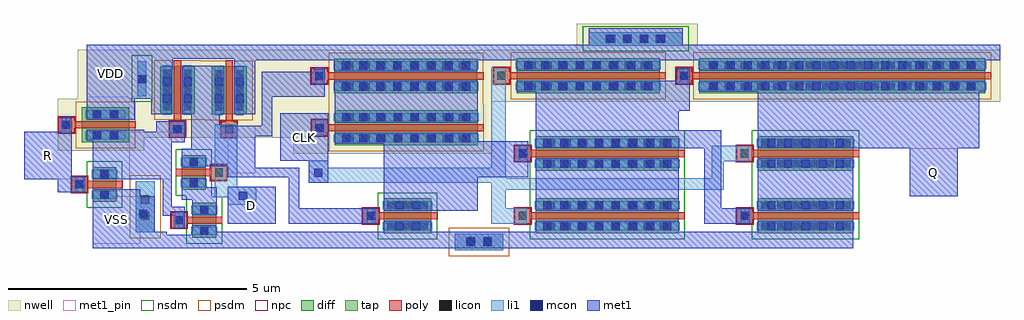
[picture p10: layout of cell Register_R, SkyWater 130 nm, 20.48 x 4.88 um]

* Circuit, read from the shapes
.subckt Register_R CLK D Q R VDD VSS
XM1 NAND2-1_1/In_2 R VSS VSS sky130_fd_pr__nfet_01v8 w=0.5 l=0.15
XM2 NAND2-1_1/Out D n1 VSS sky130_fd_pr__nfet_01v8 w=0.5 l=0.15
XM3 n1 NAND2-1_1/In_2 VSS VSS sky130_fd_pr__nfet_01v8 w=0.5 l=0.15
XM4 n2 NAND2-1_1/Out VSS VSS sky130_fd_pr__nfet_01v8 w=1 l=0.15
XM5 n3 CLK VSS VSS sky130_fd_pr__nfet_01v8 w=3 l=0.15
XM6 n4 n2 n3 VSS sky130_fd_pr__nfet_01v8 w=3 l=0.15
XM7 n5 n4 VSS VSS sky130_fd_pr__nfet_01v8 w=2 l=0.15
XM8 Q CLK n5 VSS sky130_fd_pr__nfet_01v8 w=2 l=0.15
XM9 VDD R NAND2-1_1/In_2 VDD sky130_fd_pr__pfet_01v8 w=1 l=0.15
XM10 NAND2-1_1/Out NAND2-1_1/In_2 VDD VDD sky130_fd_pr__pfet_01v8 w=1 l=0.15
XM11 VDD D NAND2-1_1/Out VDD sky130_fd_pr__pfet_01v8 w=1 l=0.15
XM12 VDD NAND2-1_1/Out n6 VDD sky130_fd_pr__pfet_01v8 w=3 l=0.15
XM13 n6 CLK n2 VDD sky130_fd_pr__pfet_01v8 w=3 l=0.15
XM14 VDD CLK n4 VDD sky130_fd_pr__pfet_01v8 w=3 l=0.15
XM15 VDD n4 Q VDD sky130_fd_pr__pfet_01v8 w=6 l=0.15
.ends

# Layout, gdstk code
from math import pi, radians
import gdstk
lib = gdstk.Library(unit=1e-6, precision=1e-09)
def R(c, l, rs):  # rectangles x0, y0, x1, y1
    for r in rs: c.add(gdstk.rectangle(r[:2], r[2:], *l))
def A(c, l, x, y, w, h, nx, ny, dx, dy):  # array of equal rectangles
    R(c, l, [(x+i*dx, y+j*dy, x+i*dx+w, y+j*dy+h) for i in range(nx) for j in range(ny)])
nwell = (64, 20)
diff = (65, 20)
tap = (65, 44)
poly = (66, 20)
licon = (66, 44)
li1 = (67, 20)
mcon = (67, 44)
met1_pin = (68, 16)
met1 = (68, 20)
nsdm = (93, 44)
psdm = (94, 20)
npc = (95, 20)

sky130_fd_pr__pfet_01v8_ = lib.new_cell('sky130_fd_pr__pfet_01v8_5475HN')
R(sky130_fd_pr__pfet_01v8_, nwell, [(-0.545,-1.99,0.545,1.82)])
R(sky130_fd_pr__pfet_01v8_, diff, [(-0.365,-1.68,0.365,1.32)])
R(sky130_fd_pr__pfet_01v8_, poly, [(-0.075,-1.81,0.075,1.475), (-0.165,1.475,0.165,1.805)])
A(sky130_fd_pr__pfet_01v8_, licon, -0.305, -1.455, 0.17, 0.17, 1, 8, 0, 0.34)
A(sky130_fd_pr__pfet_01v8_, licon, 0.135, -1.455, 0.17, 0.17, 1, 8, 0, 0.34)
R(sky130_fd_pr__pfet_01v8_, licon, [(-0.085,1.555,0.085,1.725)])
R(sky130_fd_pr__pfet_01v8_, li1, [(-0.305,-1.7,-0.135,1.34), (0.135,-1.7,0.305,1.34), (-0.165,1.555,0.165,1.725)])
A(sky130_fd_pr__pfet_01v8_, mcon, -0.305, -1.525, 0.17, 0.17, 1, 8, 0, 0.36)
A(sky130_fd_pr__pfet_01v8_, mcon, 0.135, -1.525, 0.17, 0.17, 1, 8, 0, 0.36)
R(sky130_fd_pr__pfet_01v8_, mcon, [(-0.085,1.555,0.085,1.725)])
R(sky130_fd_pr__pfet_01v8_, met1, [(-0.335,-1.68,-0.105,1.32), (0.105,-1.68,0.335,1.32), (-0.145,1.525,0.145,1.755)])
R(sky130_fd_pr__pfet_01v8_, psdm, [(-0.49,-1.805,0.49,1.445)])
R(sky130_fd_pr__pfet_01v8_, npc, [(-0.185,1.455,0.185,1.825)])

c_sky130_fd_pr__pfet_01v8_ = lib.new_cell('sky130_fd_pr__pfet_01v8_CWU6PJ')
R(c_sky130_fd_pr__pfet_01v8_, nwell, [(-0.545,-0.99,0.545,0.82)])
R(c_sky130_fd_pr__pfet_01v8_, diff, [(-0.365,-0.68,0.365,0.32)])
R(c_sky130_fd_pr__pfet_01v8_, poly, [(-0.075,-0.81,0.075,0.475), (-0.165,0.475,0.165,0.805)])
A(c_sky130_fd_pr__pfet_01v8_, licon, -0.305, -0.605, 0.17, 0.17, 1, 3, 0, 0.34)
A(c_sky130_fd_pr__pfet_01v8_, licon, 0.135, -0.605, 0.17, 0.17, 1, 3, 0, 0.34)
R(c_sky130_fd_pr__pfet_01v8_, licon, [(-0.085,0.555,0.085,0.725)])
R(c_sky130_fd_pr__pfet_01v8_, li1, [(-0.305,-0.7,-0.135,0.34), (0.135,-0.7,0.305,0.34), (-0.165,0.555,0.165,0.725)])
R(c_sky130_fd_pr__pfet_01v8_, mcon, [(-0.305,-0.445,-0.135,-0.275), (0.135,-0.445,0.305,-0.275), (-0.305,-0.085,-0.135,0.085), (0.135,-0.085,0.305,0.085), (-0.085,0.555,0.085,0.725)])
R(c_sky130_fd_pr__pfet_01v8_, met1, [(-0.335,-0.68,-0.105,0.32), (0.105,-0.68,0.335,0.32), (-0.145,0.525,0.145,0.755)])
R(c_sky130_fd_pr__pfet_01v8_, psdm, [(-0.49,-0.805,0.49,0.445)])
R(c_sky130_fd_pr__pfet_01v8_, npc, [(-0.185,0.455,0.185,0.825)])

sky130_fd_pr__nfet_01v8_ = lib.new_cell('sky130_fd_pr__nfet_01v8_8DMXDH')
R(sky130_fd_pr__nfet_01v8_, diff, [(-0.365,-0.405,0.365,0.095)])
R(sky130_fd_pr__nfet_01v8_, poly, [(-0.075,-0.535,0.075,0.205), (-0.165,0.205,0.165,0.535)])
R(sky130_fd_pr__nfet_01v8_, licon, [(-0.305,-0.24,-0.135,-0.07), (0.135,-0.24,0.305,-0.07), (-0.085,0.285,0.085,0.455)])
R(sky130_fd_pr__nfet_01v8_, li1, [(-0.305,-0.425,-0.135,0.115), (0.135,-0.425,0.305,0.115), (-0.165,0.285,0.165,0.455)])
R(sky130_fd_pr__nfet_01v8_, mcon, [(-0.305,-0.24,-0.135,-0.07), (0.135,-0.24,0.305,-0.07), (-0.085,0.285,0.085,0.455)])
R(sky130_fd_pr__nfet_01v8_, met1, [(-0.335,-0.405,-0.105,0.095), (0.105,-0.405,0.335,0.095), (-0.145,0.255,0.145,0.485)])
R(sky130_fd_pr__nfet_01v8_, nsdm, [(-0.49,-0.53,0.49,0.22)])
R(sky130_fd_pr__nfet_01v8_, npc, [(-0.185,0.185,0.185,0.555)])

c_sky130_fd_pr__pfet_01v8__ = lib.new_cell('sky130_fd_pr__pfet_01v8_AMN6CD')
R(c_sky130_fd_pr__pfet_01v8__, nwell, [(-0.545,-0.99,0.545,0.82)])
R(c_sky130_fd_pr__pfet_01v8__, diff, [(-0.365,-0.68,0.365,0.32)])
R(c_sky130_fd_pr__pfet_01v8__, poly, [(-0.075,-0.81,0.075,0.475), (-0.165,0.475,0.165,0.805)])
A(c_sky130_fd_pr__pfet_01v8__, licon, -0.305, -0.605, 0.17, 0.17, 1, 3, 0, 0.34)
A(c_sky130_fd_pr__pfet_01v8__, licon, 0.135, -0.605, 0.17, 0.17, 1, 3, 0, 0.34)
R(c_sky130_fd_pr__pfet_01v8__, licon, [(-0.085,0.555,0.085,0.725)])
R(c_sky130_fd_pr__pfet_01v8__, li1, [(-0.305,-0.7,-0.135,0.34), (0.135,-0.7,0.305,0.34), (-0.165,0.555,0.165,0.725)])
R(c_sky130_fd_pr__pfet_01v8__, mcon, [(-0.305,-0.445,-0.135,-0.275), (0.135,-0.445,0.305,-0.275), (-0.305,-0.085,-0.135,0.085), (0.135,-0.085,0.305,0.085)])
R(c_sky130_fd_pr__pfet_01v8__, met1, [(-0.335,-0.68,-0.105,0.32), (0.105,-0.68,0.335,0.32)])
R(c_sky130_fd_pr__pfet_01v8__, psdm, [(-0.49,-0.805,0.49,0.445)])
R(c_sky130_fd_pr__pfet_01v8__, npc, [(-0.185,0.455,0.185,0.825)])

c_sky130_fd_pr__nfet_01v8_ = lib.new_cell('sky130_fd_pr__nfet_01v8_CQHVT8')
R(c_sky130_fd_pr__nfet_01v8_, diff, [(-0.365,-0.405,0.365,0.095)])
R(c_sky130_fd_pr__nfet_01v8_, poly, [(-0.075,-0.535,0.075,0.205), (-0.165,0.205,0.165,0.535)])
R(c_sky130_fd_pr__nfet_01v8_, licon, [(-0.305,-0.24,-0.135,-0.07), (0.135,-0.24,0.305,-0.07), (-0.085,0.285,0.085,0.455)])
R(c_sky130_fd_pr__nfet_01v8_, li1, [(-0.305,-0.425,-0.135,0.115), (0.135,-0.425,0.305,0.115), (-0.165,0.285,0.165,0.455)])
R(c_sky130_fd_pr__nfet_01v8_, mcon, [(-0.305,-0.24,-0.135,-0.07), (0.135,-0.24,0.305,-0.07)])
R(c_sky130_fd_pr__nfet_01v8_, met1, [(-0.335,-0.405,-0.105,0.095), (0.105,-0.405,0.335,0.095)])
R(c_sky130_fd_pr__nfet_01v8_, nsdm, [(-0.49,-0.53,0.49,0.22)])
R(c_sky130_fd_pr__nfet_01v8_, npc, [(-0.185,0.185,0.185,0.555)])

nand2_1 = lib.new_cell('NAND2-1')
R(nand2_1, nwell, [(2.07,-2.56,2.45,-1.93), (2.96,-2.28,3.52,-1.01), (1.7,-1.93,2.45,-1.04), (1.7,-1.04,2.5,-0.76), (1.7,-0.76,4.34,-0.75)])
R(nand2_1, tap, [(1.83,-4.55,2.23,-3.48), (1.88,-1.69,2.06,-0.96)])
R(nand2_1, licon, [(1.945,-4.285,2.115,-4.115), (1.945,-3.945,2.115,-3.775), (1.885,-1.42,2.055,-1.25)])
R(nand2_1, li1, [(1.83,-4.55,2.23,-3.48), (3.77,-3.97,4.34,-3.93), (3.77,-3.93,4.36,-3.81), (3.49,-3.81,4.36,-3.62), (3.49,-3.62,4.34,-3.59), (3.49,-3.59,3.96,-2.28), (1.88,-1.69,2.06,-0.96)])
R(nand2_1, mcon, [(1.91,-4.245,2.08,-4.075), (4,-3.865,4.17,-3.695), (1.885,-1.42,2.055,-1.25)])
R(nand2_1, met1_pin, [(1.7,-4.79,1.83,-3.79), (4.08,-4.14,4.21,-4.01), (1.7,-3.44,2.59,-2.44), (3.77,-3.31,4.34,-2.31), (1.7,-1.75,1.88,-0.75)])
R(nand2_1, met1, [(1.7,-4.79,3.52,-4.6), (1.7,-4.6,2.23,-3.79), (2.63,-4.46,2.86,-4.2), (3.77,-4.22,4.34,-3.93), (2.4,-4.2,2.86,-4.01), (3.02,-4.19,3.53,-3.87), (2.4,-4.01,2.59,-3.44), (3.77,-3.93,4.36,-3.62), (2.8,-3.87,3.53,-3.6), (3.77,-3.62,4.34,-3.59), (2.8,-3.6,3.3,-3.4), (1.7,-3.44,2.59,-2.66), (3.77,-3.31,4.34,-3.16), (2.8,-3.16,4.34,-2.8), (3,-2.8,4.34,-2.31), (1.7,-2.66,2.86,-2.44), (2.26,-2.44,2.86,-2.22), (3,-2.31,3.6,-2.07), (2.16,-2.07,2.6,-1.75), (2.81,-2.07,3.69,-1.05), (3.9,-2.07,4.34,-0.91), (1.7,-1.75,2.6,-1.14), (1.7,-1.14,2.61,-0.91), (1.7,-0.91,4.34,-0.72)])
R(nand2_1, nsdm, [(2.895,-3.805,3.425,-3.785), (1.755,-1.815,2.185,-0.835)])
R(nand2_1, psdm, [(1.705,-4.675,2.355,-3.355), (3.2,-2.19,3.305,-0.945)])
nand2_1.add(gdstk.Reference(c_sky130_fd_pr__pfet_01v8_, (2.71,-1.745), rotation=pi))
nand2_1.add(gdstk.Reference(sky130_fd_pr__nfet_01v8_, (3.115,-4.295), rotation=pi/2))
nand2_1.add(gdstk.Reference(c_sky130_fd_pr__pfet_01v8__, (3.795,-1.75), rotation=pi))
nand2_1.add(gdstk.Reference(c_sky130_fd_pr__nfet_01v8_, (3.205,-3.295), rotation=3*pi/2))
nand2_1.add(gdstk.Label('VDD', (1.79,-1.25), layer=68, texttype=5))
nand2_1.add(gdstk.Label('In_1', (4.145,-4.075), layer=68, texttype=5))
nand2_1.add(gdstk.Label('Out', (4.055,-2.81), layer=68, texttype=5))
nand2_1.add(gdstk.Label('In_2', (2.145,-2.94), layer=68, texttype=5))
nand2_1.add(gdstk.Label('VSS', (1.765,-4.29), layer=68, texttype=5))

c_sky130_fd_pr__pfet_01v8___ = lib.new_cell('sky130_fd_pr__pfet_01v8_F97YLM')
R(c_sky130_fd_pr__pfet_01v8___, nwell, [(-0.545,-0.99,0.545,0.82)])
R(c_sky130_fd_pr__pfet_01v8___, diff, [(-0.365,-0.68,0.365,0.32)])
R(c_sky130_fd_pr__pfet_01v8___, poly, [(-0.075,-0.81,0.075,0.475), (-0.165,0.475,0.165,0.805)])
R(c_sky130_fd_pr__pfet_01v8___, licon, [(-0.305,-0.435,-0.135,-0.265), (0.135,-0.435,0.305,-0.265), (-0.305,-0.095,-0.135,0.075), (0.135,-0.095,0.305,0.075), (-0.085,0.555,0.085,0.725)])
R(c_sky130_fd_pr__pfet_01v8___, li1, [(-0.305,-0.59,-0.135,0.23), (0.135,-0.59,0.305,0.23), (-0.165,0.555,0.165,0.725)])
R(c_sky130_fd_pr__pfet_01v8___, mcon, [(-0.305,-0.445,-0.135,-0.275), (0.135,-0.445,0.305,-0.275), (-0.305,-0.085,-0.135,0.085), (0.135,-0.085,0.305,0.085), (-0.085,0.555,0.085,0.725)])
R(c_sky130_fd_pr__pfet_01v8___, met1, [(-0.335,-0.57,-0.105,0.21), (0.105,-0.57,0.335,0.21), (-0.145,0.525,0.145,0.755)])
R(c_sky130_fd_pr__pfet_01v8___, psdm, [(-0.49,-0.805,0.49,0.445)])
R(c_sky130_fd_pr__pfet_01v8___, npc, [(-0.185,0.455,0.185,0.825)])

inv2_1 = lib.new_cell('Inv2-1')
R(inv2_1, met1_pin, [(2.73,-3.84,3.04,-2.84)])
R(inv2_1, met1, [(1.96,-4.31,2.96,-4.05), (1.23,-4.11,1.8,-3.78), (1.96,-3.84,3.04,-2.95), (1.23,-3.78,1.52,-2.84), (2.06,-2.95,3.04,-2.8), (1.84,-2.59,2.84,-2.15)])
inv2_1.add(gdstk.Reference(c_sky130_fd_pr__pfet_01v8___, (2.05,-2.695), rotation=pi/2))
inv2_1.add(gdstk.Reference(sky130_fd_pr__nfet_01v8_, (2.055,-3.945), rotation=pi/2))
inv2_1.add(gdstk.Label('Out', (2.885,-3.34), layer=68, texttype=5))

c_sky130_fd_pr__nfet_01v8__ = lib.new_cell('sky130_fd_pr__nfet_01v8_5R7S7E')
R(c_sky130_fd_pr__nfet_01v8__, diff, [(-0.365,-1.655,0.365,1.345)])
R(c_sky130_fd_pr__nfet_01v8__, poly, [(-0.075,-1.785,0.075,1.455), (-0.165,1.455,0.165,1.785)])
A(c_sky130_fd_pr__nfet_01v8__, licon, -0.305, -1.43, 0.17, 0.17, 1, 8, 0, 0.34)
A(c_sky130_fd_pr__nfet_01v8__, licon, 0.135, -1.43, 0.17, 0.17, 1, 8, 0, 0.34)
R(c_sky130_fd_pr__nfet_01v8__, licon, [(-0.085,1.535,0.085,1.705)])
R(c_sky130_fd_pr__nfet_01v8__, li1, [(-0.305,-1.675,-0.135,1.365), (0.135,-1.675,0.305,1.365), (-0.165,1.535,0.165,1.705)])
A(c_sky130_fd_pr__nfet_01v8__, mcon, -0.305, -1.5, 0.17, 0.17, 1, 8, 0, 0.36)
A(c_sky130_fd_pr__nfet_01v8__, mcon, 0.135, -1.5, 0.17, 0.17, 1, 8, 0, 0.36)
R(c_sky130_fd_pr__nfet_01v8__, met1, [(-0.335,-1.655,-0.105,1.345), (0.105,-1.655,0.335,1.345)])
R(c_sky130_fd_pr__nfet_01v8__, nsdm, [(-0.49,-1.78,0.49,1.47)])
R(c_sky130_fd_pr__nfet_01v8__, npc, [(-0.185,1.435,0.185,1.805)])

c_sky130_fd_pr__nfet_01v8___ = lib.new_cell('sky130_fd_pr__nfet_01v8_NTFR9R')
R(c_sky130_fd_pr__nfet_01v8___, diff, [(-0.365,-0.655,0.365,0.345)])
R(c_sky130_fd_pr__nfet_01v8___, poly, [(-0.075,-0.785,0.075,0.455), (-0.165,0.455,0.165,0.785)])
A(c_sky130_fd_pr__nfet_01v8___, licon, -0.305, -0.58, 0.17, 0.17, 1, 3, 0, 0.34)
A(c_sky130_fd_pr__nfet_01v8___, licon, 0.135, -0.58, 0.17, 0.17, 1, 3, 0, 0.34)
R(c_sky130_fd_pr__nfet_01v8___, licon, [(-0.085,0.535,0.085,0.705)])
R(c_sky130_fd_pr__nfet_01v8___, li1, [(-0.305,-0.675,-0.135,0.365), (0.135,-0.675,0.305,0.365), (-0.165,0.535,0.165,0.705)])
R(c_sky130_fd_pr__nfet_01v8___, mcon, [(-0.305,-0.42,-0.135,-0.25), (0.135,-0.42,0.305,-0.25), (-0.305,-0.06,-0.135,0.11), (0.135,-0.06,0.305,0.11), (-0.085,0.535,0.085,0.705)])
R(c_sky130_fd_pr__nfet_01v8___, met1, [(-0.335,-0.655,-0.105,0.345), (0.105,-0.655,0.335,0.345), (-0.145,0.505,0.145,0.735)])
R(c_sky130_fd_pr__nfet_01v8___, nsdm, [(-0.49,-0.78,0.49,0.47)])
R(c_sky130_fd_pr__nfet_01v8___, npc, [(-0.185,0.435,0.185,0.805)])

c_sky130_fd_pr__pfet_01v8____ = lib.new_cell('sky130_fd_pr__pfet_01v8_YRA8CD')
R(c_sky130_fd_pr__pfet_01v8____, nwell, [(-0.545,-1.99,0.545,1.82)])
R(c_sky130_fd_pr__pfet_01v8____, diff, [(-0.365,-1.68,0.365,1.32)])
R(c_sky130_fd_pr__pfet_01v8____, poly, [(-0.075,-1.81,0.075,1.475), (-0.165,1.475,0.165,1.805)])
A(c_sky130_fd_pr__pfet_01v8____, licon, -0.305, -1.455, 0.17, 0.17, 1, 8, 0, 0.34)
A(c_sky130_fd_pr__pfet_01v8____, licon, 0.135, -1.455, 0.17, 0.17, 1, 8, 0, 0.34)
R(c_sky130_fd_pr__pfet_01v8____, licon, [(-0.085,1.555,0.085,1.725)])
R(c_sky130_fd_pr__pfet_01v8____, li1, [(-0.305,-1.7,-0.135,1.34), (0.135,-1.7,0.305,1.34), (-0.165,1.555,0.165,1.725)])
A(c_sky130_fd_pr__pfet_01v8____, mcon, -0.305, -1.525, 0.17, 0.17, 1, 8, 0, 0.36)
A(c_sky130_fd_pr__pfet_01v8____, mcon, 0.135, -1.525, 0.17, 0.17, 1, 8, 0, 0.36)
R(c_sky130_fd_pr__pfet_01v8____, met1, [(-0.335,-1.68,-0.105,1.32), (0.105,-1.68,0.335,1.32)])
R(c_sky130_fd_pr__pfet_01v8____, psdm, [(-0.49,-1.805,0.49,1.445)])
R(c_sky130_fd_pr__pfet_01v8____, npc, [(-0.185,1.455,0.185,1.825)])

c_sky130_fd_pr__nfet_01v8____ = lib.new_cell('sky130_fd_pr__nfet_01v8_KNTFKG')
R(c_sky130_fd_pr__nfet_01v8____, diff, [(-0.365,-1.655,0.365,1.345)])
R(c_sky130_fd_pr__nfet_01v8____, poly, [(-0.075,-1.785,0.075,1.455), (-0.165,1.455,0.165,1.785)])
A(c_sky130_fd_pr__nfet_01v8____, licon, -0.305, -1.43, 0.17, 0.17, 1, 8, 0, 0.34)
A(c_sky130_fd_pr__nfet_01v8____, licon, 0.135, -1.43, 0.17, 0.17, 1, 8, 0, 0.34)
R(c_sky130_fd_pr__nfet_01v8____, licon, [(-0.085,1.535,0.085,1.705)])
R(c_sky130_fd_pr__nfet_01v8____, li1, [(-0.305,-1.675,-0.135,1.365), (0.135,-1.675,0.305,1.365), (-0.165,1.535,0.165,1.705)])
A(c_sky130_fd_pr__nfet_01v8____, mcon, -0.305, -1.5, 0.17, 0.17, 1, 8, 0, 0.36)
A(c_sky130_fd_pr__nfet_01v8____, mcon, 0.135, -1.5, 0.17, 0.17, 1, 8, 0, 0.36)
R(c_sky130_fd_pr__nfet_01v8____, mcon, [(-0.085,1.535,0.085,1.705)])
R(c_sky130_fd_pr__nfet_01v8____, met1, [(-0.335,-1.655,-0.105,1.345), (0.105,-1.655,0.335,1.345), (-0.145,1.505,0.145,1.735)])
R(c_sky130_fd_pr__nfet_01v8____, nsdm, [(-0.49,-1.78,0.49,1.47)])
R(c_sky130_fd_pr__nfet_01v8____, npc, [(-0.185,1.435,0.185,1.805)])

c_sky130_fd_pr__nfet_01v8_____ = lib.new_cell('sky130_fd_pr__nfet_01v8_28RQMS')
R(c_sky130_fd_pr__nfet_01v8_____, diff, [(-0.365,-1.155,0.365,0.845)])
R(c_sky130_fd_pr__nfet_01v8_____, poly, [(-0.075,-1.285,0.075,0.955), (-0.165,0.955,0.165,1.285)])
A(c_sky130_fd_pr__nfet_01v8_____, licon, -0.305, -1.09, 0.17, 0.17, 1, 6, 0, 0.34)
A(c_sky130_fd_pr__nfet_01v8_____, licon, 0.135, -1.09, 0.17, 0.17, 1, 6, 0, 0.34)
R(c_sky130_fd_pr__nfet_01v8_____, licon, [(-0.085,1.035,0.085,1.205)])
R(c_sky130_fd_pr__nfet_01v8_____, li1, [(-0.305,-1.175,-0.135,0.865), (0.135,-1.175,0.305,0.865), (-0.165,1.035,0.165,1.205)])
A(c_sky130_fd_pr__nfet_01v8_____, mcon, -0.305, -0.96, 0.17, 0.17, 1, 5, 0, 0.36)
A(c_sky130_fd_pr__nfet_01v8_____, mcon, 0.135, -0.96, 0.17, 0.17, 1, 5, 0, 0.36)
R(c_sky130_fd_pr__nfet_01v8_____, mcon, [(-0.085,1.035,0.085,1.205)])
R(c_sky130_fd_pr__nfet_01v8_____, met1, [(-0.335,-1.155,-0.105,0.845), (0.105,-1.155,0.335,0.845), (-0.145,1.005,0.145,1.235)])
R(c_sky130_fd_pr__nfet_01v8_____, nsdm, [(-0.49,-1.28,0.49,0.97)])
R(c_sky130_fd_pr__nfet_01v8_____, npc, [(-0.185,0.935,0.185,1.305)])

c_sky130_fd_pr__pfet_01v8_____ = lib.new_cell('sky130_fd_pr__pfet_01v8_C6DMSJ')
R(c_sky130_fd_pr__pfet_01v8_____, nwell, [(-0.545,-3.49,0.545,3.32)])
R(c_sky130_fd_pr__pfet_01v8_____, diff, [(-0.365,-3.18,0.365,2.82)])
R(c_sky130_fd_pr__pfet_01v8_____, poly, [(-0.075,-3.31,0.075,2.975), (-0.165,2.975,0.165,3.305)])
A(c_sky130_fd_pr__pfet_01v8_____, licon, -0.305, -2.985, 0.17, 0.17, 1, 17, 0, 0.34)
A(c_sky130_fd_pr__pfet_01v8_____, licon, 0.135, -2.985, 0.17, 0.17, 1, 17, 0, 0.34)
R(c_sky130_fd_pr__pfet_01v8_____, licon, [(-0.085,3.055,0.085,3.225)])
R(c_sky130_fd_pr__pfet_01v8_____, li1, [(-0.305,-3.2,-0.135,2.84), (0.135,-3.2,0.305,2.84), (-0.165,3.055,0.165,3.225)])
A(c_sky130_fd_pr__pfet_01v8_____, mcon, -0.305, -2.965, 0.17, 0.17, 1, 16, 0, 0.36)
A(c_sky130_fd_pr__pfet_01v8_____, mcon, 0.135, -2.965, 0.17, 0.17, 1, 16, 0, 0.36)
R(c_sky130_fd_pr__pfet_01v8_____, mcon, [(-0.085,3.055,0.085,3.225)])
R(c_sky130_fd_pr__pfet_01v8_____, met1, [(-0.335,-3.18,-0.105,2.82), (0.105,-3.18,0.335,2.82), (-0.145,3.025,0.145,3.255)])
R(c_sky130_fd_pr__pfet_01v8_____, psdm, [(-0.49,-3.305,0.49,2.945)])
R(c_sky130_fd_pr__pfet_01v8_____, npc, [(-0.185,2.955,0.185,3.325)])

c_sky130_fd_pr__nfet_01v8______ = lib.new_cell('sky130_fd_pr__nfet_01v8_TUG65L')
R(c_sky130_fd_pr__nfet_01v8______, diff, [(-0.365,-1.155,0.365,0.845)])
R(c_sky130_fd_pr__nfet_01v8______, poly, [(-0.075,-1.285,0.075,0.955), (-0.165,0.955,0.165,1.285)])
A(c_sky130_fd_pr__nfet_01v8______, licon, -0.305, -1.09, 0.17, 0.17, 1, 6, 0, 0.34)
A(c_sky130_fd_pr__nfet_01v8______, licon, 0.135, -1.09, 0.17, 0.17, 1, 6, 0, 0.34)
R(c_sky130_fd_pr__nfet_01v8______, licon, [(-0.085,1.035,0.085,1.205)])
R(c_sky130_fd_pr__nfet_01v8______, li1, [(-0.305,-1.175,-0.135,0.865), (0.135,-1.175,0.305,0.865), (-0.165,1.035,0.165,1.205)])
A(c_sky130_fd_pr__nfet_01v8______, mcon, -0.305, -0.96, 0.17, 0.17, 1, 5, 0, 0.36)
A(c_sky130_fd_pr__nfet_01v8______, mcon, 0.135, -0.96, 0.17, 0.17, 1, 5, 0, 0.36)
R(c_sky130_fd_pr__nfet_01v8______, met1, [(-0.335,-1.155,-0.105,0.845), (0.105,-1.155,0.335,0.845)])
R(c_sky130_fd_pr__nfet_01v8______, nsdm, [(-0.49,-1.28,0.49,0.97)])
R(c_sky130_fd_pr__nfet_01v8______, npc, [(-0.185,0.935,0.185,1.305)])

register_r = lib.new_cell('Register_R')
R(register_r, nwell, [(6.75,-1.44,7.82,-1.11), (3.07,-1.11,7.82,-0.95), (2.23,-0.95,7.82,0.74), (10.64,-0.35,17.45,0.74), (12.7,0.74,15.24,1.29)])
R(register_r, tap, [(10.14,-3.47,11.16,-3.12), (12.95,0.83,14.92,1.11)])
A(register_r, licon, 13.34, 0.885, 0.17, 0.17, 4, 1, 0.34, 0)
R(register_r, licon, [(10.395,-3.38,10.565,-3.21), (10.735,-3.38,10.905,-3.21)])
R(register_r, li1, [(10.14,-3.47,11.16,-3.12), (10.9,-2.91,11.65,-2.58), (10.9,-2.58,11.21,-2.2), (10.9,-2.2,15.78,-2.05), (7.08,-2.05,15.78,-1.96), (7.08,-1.96,11.21,-1.74), (15.53,-1.96,15.78,-1.6), (7.08,-1.74,7.48,-1.59), (10.9,-1.74,11.21,0.36), (15.53,-1.6,16.31,-1.27), (12.95,0.83,14.92,1.11)])
A(register_r, mcon, 13.31, 0.885, 0.17, 0.17, 4, 1, 0.36, 0)
R(register_r, mcon, [(10.385,-3.36,10.555,-3.19), (10.745,-3.36,10.915,-3.19), (7.19,-1.925,7.36,-1.755)])
R(register_r, met1_pin, [(2.54,-3.33,3.54,-2.33), (5.38,-2.91,6.38,-2.13), (19.69,-2.33,20.69,-1.33), (1.1,-1.98,2.1,-0.98), (6.48,-1.59,7.48,-0.59), (2.42,-0.26,3.42,0.74)])
R(register_r, met1, [(2.54,-3.42,18.5,-3.23), (2.54,-3.23,3.54,-2.33), (3.8,-3.23,18.5,-3.14), (3.8,-3.14,4.1,-3.08), (4.61,-3.14,18.5,-3.08), (5.38,-2.91,6.38,-2.13), (6.66,-2.91,8.49,-2.58), (15.37,-2.91,16.34,-2.58), (8.65,-2.64,10.62,-1.93), (11.84,-2.64,14.84,-1.54), (16.5,-2.64,18.5,-1.54), (6.66,-2.58,6.88,-1.93), (15.37,-2.58,15.73,-1.33), (19.69,-2.33,20.69,-1.33), (7.08,-2.05,7.48,-1.59), (1.1,-1.98,2.1,-0.98), (5.38,-1.93,6.88,-1.85), (8.65,-1.93,11.68,-1.18), (5.95,-1.85,6.88,-1.74), (6.48,-1.59,7.48,-0.59), (11.84,-1.33,15.73,-0.95), (16.5,-1.33,21.14,-0.04), (8.65,-1.18,10.62,-1), (5.94,-1.07,6.31,-0.85), (11.84,-0.95,14.84,-0.54), (6.09,-0.85,6.31,-0.24), (7.62,-0.79,10.62,0.09), (11.84,-0.54,15.07,0.09), (2.42,-0.42,3.32,-0.26), (2.42,-0.26,3.42,0.61), (6.09,-0.24,7.41,0.28), (18.22,-0.04,21.14,0.02), (14.8,0.09,15.07,0.34), (5.9,0.52,21.58,0.61), (2.42,0.61,21.58,0.85), (12.95,0.85,14.92,1.19)])
R(register_r, nsdm, [(11.715,-2.255,14.965,-1.925), (16.375,-2.255,18.625,-1.925), (12.825,0.705,15.045,1.235)])
R(register_r, psdm, [(10.015,-3.595,11.285,-2.995), (7.495,-0.405,10.74,-0.3)])
register_r.add(gdstk.Reference(sky130_fd_pr__pfet_01v8_, (8.94,-0.895), rotation=pi/2))
register_r.add(gdstk.Reference(nand2_1, (1.61,1.46)))
register_r.add(gdstk.Reference(inv2_1, (0.58,1.86)))
register_r.add(gdstk.Reference(sky130_fd_pr__pfet_01v8_, (8.935,0.19), rotation=pi/2))
register_r.add(gdstk.Reference(c_sky130_fd_pr__nfet_01v8__, (13.185,-2.745), rotation=pi/2))
register_r.add(gdstk.Reference(c_sky130_fd_pr__nfet_01v8___, (8.995,-2.745), rotation=pi/2))
register_r.add(gdstk.Reference(c_sky130_fd_pr__pfet_01v8____, (12.76,0.195), rotation=pi/2))
register_r.add(gdstk.Reference(c_sky130_fd_pr__nfet_01v8____, (13.185,-1.435), rotation=pi/2))
register_r.add(gdstk.Reference(c_sky130_fd_pr__nfet_01v8_____, (17.345,-2.745), rotation=pi/2))
register_r.add(gdstk.Reference(c_sky130_fd_pr__pfet_01v8_____, (18.09,0.195), rotation=pi/2))
register_r.add(gdstk.Reference(c_sky130_fd_pr__nfet_01v8______, (17.345,-1.435), rotation=pi/2))
register_r.add(gdstk.Label('VDD', (2.92,0.24), layer=68, texttype=5))
register_r.add(gdstk.Label('Q', (20.19,-1.83), layer=68, texttype=5))
register_r.add(gdstk.Label('R', (1.6,-1.48), layer=68, texttype=5))
register_r.add(gdstk.Label('VSS', (3.04,-2.83), layer=68, texttype=5))
register_r.add(gdstk.Label('D', (5.88,-2.52), layer=68, texttype=5))
register_r.add(gdstk.Label('CLK', (6.98,-1.09), layer=68, texttype=5))

lib.write_gds('Register_R.gds')
